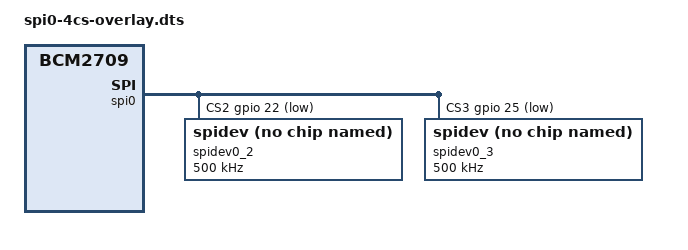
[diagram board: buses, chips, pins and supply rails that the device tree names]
/dts-v1/;
/plugin/;


/ {
	compatible = "brcm,bcm2835", "brcm,bcm2708", "brcm,bcm2709";

	fragment@0 {
		target = <&spi0_cs_pins>;
		__overlay__ {
				brcm,pins = <8 7 22 25>;
		};
	};

	fragment@1 {
		target = <&spi0>;
		__overlay__ {
            #size-cells = <0>;
			#address-cells = <1>;
	        cs-gpios = <&gpio 8 1>, <&gpio 7 1>, <&gpio 22 1>, <&gpio 25 1>;

			spidev0_2: spidev@2 {
				compatible = "spidev";
				reg = <2>;      /* CE2 */
				#address-cells = <1>;
				#size-cells = <0>;
				spi-max-frequency = <500000>;
				status = "okay";
			};

			spidev0_3: spidev@3 {
				compatible = "spidev";
				reg = <3>;      /* CE2 */
				#address-cells = <1>;
				#size-cells = <0>;
				spi-max-frequency = <500000>;
				status = "okay";
			};
		};
	};
/*
	__overrides__ {
		cs2_pin  = <&spi0_cs_pins>,"brcm,pins:8",
			   <&frag1>,"cs-gpios:4";
		cs3_pin  = <&spi0_cs_pins>,"brcm,pins:12",
			   <&frag1>,"cs-gpios:16";
		cs2_spidev = <&spidev0_2>,"status";
		cs3_spidev = <&spidev0_3>,"status";
	};
*/
};
